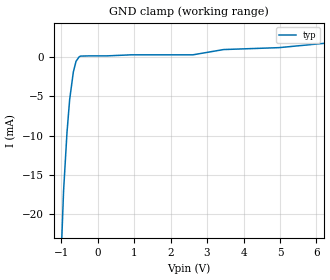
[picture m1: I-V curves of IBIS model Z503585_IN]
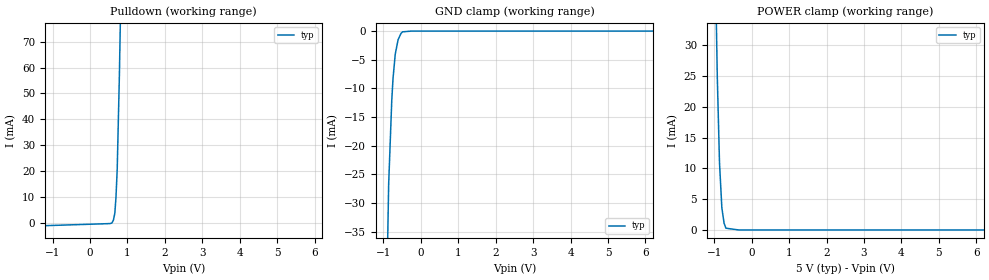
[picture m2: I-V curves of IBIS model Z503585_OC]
| YOU ARE ONLY AUTHORIZED TO USE THIS SOFTWARE
| ACCORDING TO LICENSOR'S LICENSE RESTRICTIONS.
[IBIS Ver] 3.1
[File Name] mc1413d.ibs
[File Rev] 2.0
[Source] Measured and created by ICX Technology
[Date] Friday 7/14/00 9:07:53 AM
[Copyright]
| (C) COPYRIGHT 1993-2000
| MENTOR GRAPHICS CORPORATION
| ICX STANDARD LIBRARY, ICX PROJECT MODELING,
| ICX CUSTOM MODELING, ICX VENDOR MODEL
| ALL RIGHTS RESERVED.
| THE FOLLOWING ARE TRADEMARKS OR SERVICE MARKS OF
| MENTOR GRAPHICS CORPORATION:ICX (R), ICX STANDARD
| LIBRARY(R), ICX PROJECT MODELING(R), ICX CUSTOM
| MODELING(R), qualityIBIS(TM), MODELVIEWER(TM),
| AND MODELEDITOR(TM)
| ALL COPIES OF SOFTWARE, INCLUDING BUT NOT LIMITED TO
| ANY MODIFICATIONS, ENHANCEMENTS OR DERIVATIVE WORKS,
| MUST CONTAIN ALL MENTOR GRAPHICS CORPORATION'S
| NOTICES AND LEGENDS, INCLUDING THOSE EMBEDDED IN
| SOFTWARE AND THOSE AFFIXED TO SOFTWARE MEDIUM
| AND CONTAINER, AS RECEIVED FROM MENTOR GRAPHICS
| CORPORATION.
|  ZAP Model Builder 2.7
[Component] MC1413D
[Manufacturer] OnSemiconductor
[Package]
| variable   typ   min   max
R_pkg  .156ohms NA NA
L_pkg  3.148nH NA NA
C_pkg  .388pF NA NA
[Pin] signal_name  model_name  R_pin  L_pin C_pin
1 I1 Z503585_IN .162 3.798n .418p
2 I2 Z503585_IN .158 3.358n .398p
3 I3 Z503585_IN .154 2.928n .378p
4 I4 Z503585_IN .15 2.508n .358p
5 I5 Z503585_IN .15 2.508n .358p
6 I6 Z503585_IN .154 2.928n .378p
7 I7 Z503585_IN .158 3.358n .398p
8 GND GND .162 3.798n .418p
9 VCC POWER .162 3.798n .418p
10 O7 Z503585_OC .158 3.358n .398p
11 O6 Z503585_OC .154 2.928n .378p
12 O5 Z503585_OC .15 2.508n .358p
13 O4 Z503585_OC .15 2.508n .358p
14 O3 Z503585_OC .154 2.928n .378p
15 O2 Z503585_OC .158 3.358n .398p
16 O1 Z503585_OC .162 3.798n .418p
| Models and submodels in the file (2): Z503585_IN (Input), Z503585_OC (Open_sink)
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| (C) COPYRIGHT 1993-2000
| MENTOR GRAPHICS CORPORATION
| ICX STANDARD LIBRARY, ICX PROJECT MODELING,
| ICX CUSTOM MODELING, ICX VENDOR MODEL
| ALL RIGHTS RESERVED.
| THE FOLLOWING ARE TRADEMARKS OR SERVICE MARKS OF
| MENTOR GRAPHICS CORPORATION:ICX (R), ICX STANDARD
| LIBRARY(R), ICX PROJECT MODELING(R), ICX CUSTOM
| MODELING(R), qualityIBIS(TM), MODELVIEWER(TM),
| AND MODELEDITOR(TM)
| ALL COPIES OF SOFTWARE, INCLUDING BUT NOT LIMITED TO
| ANY MODIFICATIONS, ENHANCEMENTS OR DERIVATIVE WORKS,
| MUST CONTAIN ALL MENTOR GRAPHICS CORPORATION'S
| NOTICES AND LEGENDS, INCLUDING THOSE EMBEDDED IN
| SOFTWARE AND THOSE AFFIXED TO SOFTWARE MEDIUM
| AND CONTAINER, AS RECEIVED FROM MENTOR GRAPHICS
| CORPORATION.
| Model Application Version 1.89 2/18/99.
[Model] Z503585_IN
Model_type Input
Vinl = 800.0mV
Vinh = 2.000V
C_comp 4.000pF NA NA
| variable typ   min   max
[Voltage Range] 5.000V NA NA
[GND Clamp Reference] 0.000V NA NA
[POWER Clamp Reference] 5.000V NA NA
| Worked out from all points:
|   GND clamp passes 1 mA (typ) near -0.62 V on its own axis
[GND Clamp]
-5V       -755.6mA   NA         NA
-1.108V   -38.66mA   NA         NA
-932.5mV  -17mA      NA         NA
-839.2mV  -9.583mA   NA         NA
-765.8mV  -5.387mA   NA         NA
-664.3mV  -1.874mA   NA         NA
-590.6mV  -531.5uA   NA         NA
-468.7mV  125.5uA    NA         NA
2.612V    288.7uA    NA         NA
3.456V    959.3uA    NA         NA
4.976V    1.202mA    NA         NA
10V       3.433mA    NA         NA
[POWER Clamp]
-5V       0A         NA         NA
10V       0A         NA         NA
| (C) COPYRIGHT 1993-2000
| MENTOR GRAPHICS CORPORATION
| ICX STANDARD LIBRARY, ICX PROJECT MODELING,
| ICX CUSTOM MODELING, ICX VENDOR MODEL
| ALL RIGHTS RESERVED.
| THE FOLLOWING ARE TRADEMARKS OR SERVICE MARKS OF
| MENTOR GRAPHICS CORPORATION:ICX (R), ICX STANDARD
| LIBRARY(R), ICX PROJECT MODELING(R), ICX CUSTOM
| MODELING(R), qualityIBIS(TM), MODELVIEWER(TM),
| AND MODELEDITOR(TM)
| ALL COPIES OF SOFTWARE, INCLUDING BUT NOT LIMITED TO
| ANY MODIFICATIONS, ENHANCEMENTS OR DERIVATIVE WORKS,
| MUST CONTAIN ALL MENTOR GRAPHICS CORPORATION'S
| NOTICES AND LEGENDS, INCLUDING THOSE EMBEDDED IN
| SOFTWARE AND THOSE AFFIXED TO SOFTWARE MEDIUM
| AND CONTAINER, AS RECEIVED FROM MENTOR GRAPHICS
| CORPORATION.
| Model Application Version 1.89 2/18/99.
[Model] Z503585_OC
Model_type Open_sink
Vref=5.000V
Rref=50.00ohms
Cref=0.000F
Vmeas=1.500V
C_comp 8.000pF NA NA
| variable typ   min   max
[Voltage Range] 5.000V NA NA
[POWER Clamp Reference] 5.000V NA NA
[Pullup Reference] 5.000V NA NA
[Pulldown Reference] 0.000V NA NA
[GND Clamp Reference] 0.000V NA NA
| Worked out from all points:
|   slope of the pulldown table from 0 to 0.75 V, typ, clamps not added: 21.1 ohm
|   GND clamp passes 1 mA (typ) near -0.57 V on its own axis
|   POWER clamp passes 1 mA (typ) near -0.73 V on its own axis
[GND Clamp]
-5V       -2.573A    NA         NA
-1.181V   -173.1mA   NA         NA
-1.015V   -83.85mA   NA         NA
-859.1mV  -26.67mA   NA         NA
-776mV    -12.04mA   NA         NA
-742.1mV  -8.201mA   NA         NA
-683.3mV  -4.017mA   NA         NA
-606.7mV  -1.494mA   NA         NA
-531.7mV  -422.7uA   NA         NA
-487.8mV  -127.4uA   NA         NA
-243.9mV  0A         NA         NA
10V       0A         NA         NA
[Pulldown]
-5V       -2.925mA   NA         NA
526.7mV   -350.3uA   NA         NA
570.3mV   -212.7uA   NA         NA
589.3mV   -20.36uA   NA         NA
625.5mV   965uA      NA         NA
663.9mV   3.726mA    NA         NA
694.5mV   9.977mA    NA         NA
727.2mV   20.73mA    NA         NA
785.3mV   57.11mA    NA         NA
10V       7.475A     NA         NA
[POWER Clamp]
-5V       1.44A      NA         NA
-918mV    24.82mA    NA         NA
-859mV    10.88mA    NA         NA
-796mV    3.571mA    NA         NA
-737mV    1.1mA      NA         NA
-688mV    288uA      NA         NA
-344mV    0A         NA         NA
10V       0A         NA         NA
[Ramp]
| variable typ min max
dV/dt_r 2.559/12.56n NA NA
dV/dt_f 2.559/4.542n NA NA
R_load = 250.0Ohms
